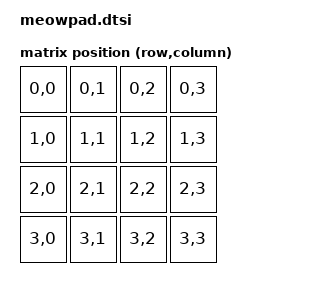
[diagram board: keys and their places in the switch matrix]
#include <dt-bindings/zmk/matrix_transform.h>
#include <physical_layouts.dtsi>

/ {
    chosen {
        zmk,kscan = &kscan0;
        zmk,physical-layout = &physical_layout0;
    };

    default_transform: keymap_transform_0 {
        compatible = "zmk,matrix-transform";
        columns = <4>;
        rows = <4>;

        map = <
            RC(0,0) RC(0,1) RC(0,2) RC(0,3)
            RC(1,0) RC(1,1) RC(1,2) RC(1,3)
            RC(2,0) RC(2,1) RC(2,2) RC(2,3)
            RC(3,0) RC(3,1) RC(3,2) RC(3,3)
        >;
    };

    physical_layout0: physical_layout_0 {
        compatible = "zmk,physical-layout";
        display-name = "Meowpad 4x4";
        kscan = <&kscan0>;
        transform = <&default_transform>;
        keys  //                     w   h    x    y     rot    rx    ry
            = <&key_physical_attrs 100 100    0    0       0     0     0>
            , <&key_physical_attrs 100 100  100    0       0     0     0>
            , <&key_physical_attrs 100 100  200    0       0     0     0>
            , <&key_physical_attrs 100 100  300    0       0     0     0>
            , <&key_physical_attrs 100 100    0  100       0     0     0>
            , <&key_physical_attrs 100 100  100  100       0     0     0>
            , <&key_physical_attrs 100 100  200  100       0     0     0>
            , <&key_physical_attrs 100 100  300  100       0     0     0>
            , <&key_physical_attrs 100 100    0  200       0     0     0>
            , <&key_physical_attrs 100 100  100  200       0     0     0>
            , <&key_physical_attrs 100 100  200  200       0     0     0>
            , <&key_physical_attrs 100 100  300  200       0     0     0>
            , <&key_physical_attrs 100 100    0  300       0     0     0>
            , <&key_physical_attrs 100 100  100  300       0     0     0>
            , <&key_physical_attrs 100 100  200  300       0     0     0>
            , <&key_physical_attrs 100 100  300  300       0     0     0>
            ;
    };
};
